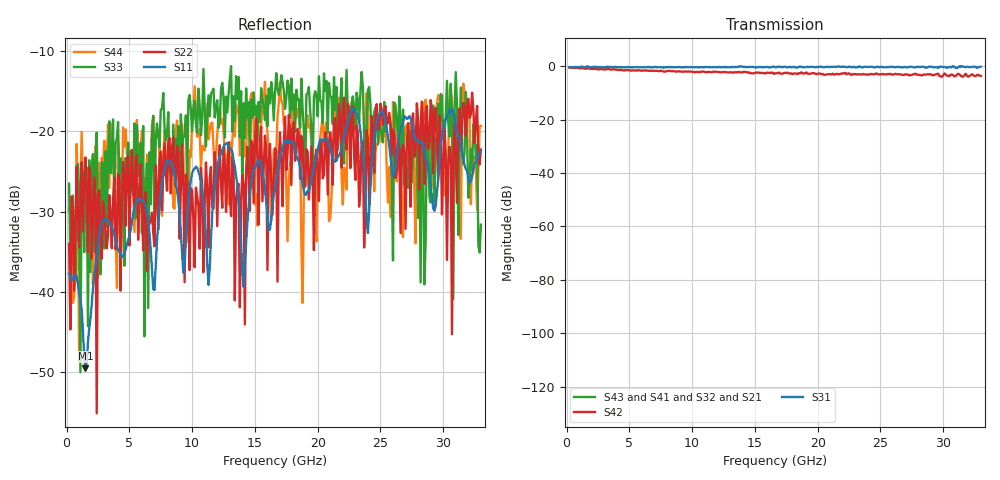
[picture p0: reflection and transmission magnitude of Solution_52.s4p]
# GHZ S RI R 50
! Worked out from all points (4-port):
!   329 points, 200 MHz to 33 GHz, reference 50 ohm
!   strongest paths, dB at 200 MHz, 8.4 GHz, 16.6 GHz, 24.8 GHz, 33 GHz:
!     S31: -0.4, -0.4, -0.4, -0.3, -0.2
!     S42: -0.5, -1.9, -2.7, -3.0, -3.6
!     S43: -, -, -, -, -
!     S41: -, -, -, -, -
!     S32: -, -, -, -, -
!     S21: -, -, -, -, -
!   lowest |S11| = -49.5 dB at 1.5 GHz (marker M1), VSWR 1.01, Z = 49.7 - j0.188 ohm
!   |S11| at or under -10 dB: start of sweep to end of sweep
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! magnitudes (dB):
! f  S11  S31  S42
! 200 MHz  -37.7  -0.4  -0.5
! 1.1 GHz  -41.0  -0.2  -0.8
! 1.5 GHz  -49.5  -0.3  -0.9
! 2.4 GHz  -35.7  -0.3  -1.1
! 2.5 GHz  -34.4  -0.3  -1.2
! 5.2 GHz  -31.3  -0.5  -1.6
! 33 GHz  -22.4  -0.2  -3.6
